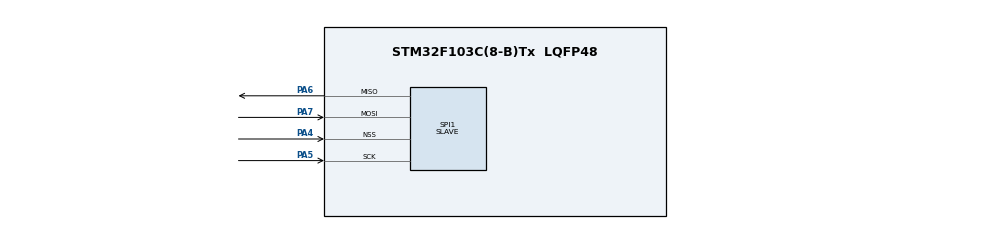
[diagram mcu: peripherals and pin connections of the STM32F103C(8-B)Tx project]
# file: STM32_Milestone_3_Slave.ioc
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Mcu.Family=STM32F1
Mcu.Name=STM32F103C(8-B)Tx
Mcu.Package=LQFP48
NVIC.PriorityGroup=NVIC_PRIORITYGROUP_4
PA4.Mode=NSS_Signal_Hard_Input
PA4.Signal=SPI1_NSS
PA5.Mode=Full_Duplex_Slave
PA5.Signal=SPI1_SCK
PA6.Mode=Full_Duplex_Slave
PA6.Signal=SPI1_MISO
PA7.Mode=Full_Duplex_Slave
PA7.Signal=SPI1_MOSI
ProjectManager.HeapSize=0x200
ProjectManager.StackSize=0x400
ProjectManager.TargetToolchain=STM32CubeIDE
RCC.APB1Freq_Value=8000000
RCC.APB2Freq_Value=8000000
SPI1.Direction=SPI_DIRECTION_2LINES
SPI1.Mode=SPI_MODE_SLAVE
SPI1.VirtualNSS=VM_NSSHARD
SPI1.VirtualType=VM_SLAVE
VP_SYS_VS_ND.Mode=No_Debug
board=custom

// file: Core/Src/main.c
/* USER CODE BEGIN Header */
/**
  ******************************************************************************
  * @file           : main.c
  * @brief          : Main program body
  ******************************************************************************
  * @attention
  *
  * Copyright (c) 2026 STMicroelectronics.
  * All rights reserved.
  *
  * This software is licensed under terms that can be found in the LICENSE file
  * in the root directory of this software component.
  * If no LICENSE file comes with this software, it is provided AS-IS.
  *
  ******************************************************************************
  */
/* USER CODE END Header */
#include "main.h"

/* USER CODE BEGIN Includes */
typedef struct
{
    uint16_t id;
    uint16_t voltage_x10;
    uint16_t speed;
} SensorCase;

SensorCase cases[5] =
{
    {0x1001, 123, 200},
    {0x1002, 142, 150},
    {0x1003, 138, 100},
    {0x1004, 115, 220},
    {0x1005, 109, 280}
};

uint8_t rx_data[2];
uint8_t tx_data[3];

uint16_t received_id;
uint16_t voltage_x10;
uint16_t speed;
uint32_t message_24bit;
/* USER CODE END Includes */

SPI_HandleTypeDef hspi1;

void SystemClock_Config(void);
static void MX_GPIO_Init(void);
static void MX_SPI1_Init(void);

int main(void)
{

  /* MCU Configuration--------------------------------------------------------*/

  /* Reset of all peripherals, Initializes the Flash interface and the Systick. */
  HAL_Init();

  /* Configure the system clock */
  SystemClock_Config();

  /* Initialize all configured peripherals */
  MX_GPIO_Init();
  MX_SPI1_Init();

  /* Infinite loop */
  /* USER CODE BEGIN WHILE */
  while (1)
  {
      uint8_t dummy_rx[2] = {0};

      /* ---------------- Cycle 1 ---------------- */

      /* Receive Case ID from Master.
         NOTE: this call BLOCKS here until the Master starts clocking
         Cycle 1. That is what keeps the two sides synchronized: the
         Slave is guaranteed to be "parked" inside this call, ready,
         before any clock edges arrive. */
      HAL_SPI_TransmitReceive(
          &hspi1,
          dummy_rx,
          rx_data,
          2,
          HAL_MAX_DELAY
      );

      /* Convert received bytes to 16-bit ID */
      received_id = ((uint16_t)rx_data[0] << 8) | rx_data[1];

      /* Find matching case */
      voltage_x10 = 0;
      speed = 0;

      for (int i = 0; i < 5; i++)
      {
          if (cases[i].id == received_id)
          {
              voltage_x10 = cases[i].voltage_x10;
              speed = cases[i].speed;
              break;
          }
      }

      /* Pack Voltage + Speed into 24 bits */
      message_24bit = ((uint32_t)voltage_x10 << 12) | speed;

      /* Split into 3 bytes */
      tx_data[0] = (message_24bit >> 16) & 0xFF;
      tx_data[1] = (message_24bit >> 8) & 0xFF;
      tx_data[2] = message_24bit & 0xFF;

      /* ---------------- Cycle 2 ---------------- */

      uint8_t dummy_rx_3[3];

      HAL_SPI_TransmitReceive(
          &hspi1,
          tx_data,
          dummy_rx_3,
          3,
          HAL_MAX_DELAY
      );
  }
  /* USER CODE END 3 */
}

void SystemClock_Config(void)
{
  RCC_OscInitTypeDef RCC_OscInitStruct = {0};
  RCC_ClkInitTypeDef RCC_ClkInitStruct = {0};

  RCC_OscInitStruct.OscillatorType = RCC_OSCILLATORTYPE_HSI;
  RCC_OscInitStruct.HSIState = RCC_HSI_ON;
  RCC_OscInitStruct.HSICalibrationValue = RCC_HSICALIBRATION_DEFAULT;
  RCC_OscInitStruct.PLL.PLLState = RCC_PLL_NONE;
  if (HAL_RCC_OscConfig(&RCC_OscInitStruct) != HAL_OK)
  {
    Error_Handler();
  }

  /** Initializes the CPU, AHB and APB buses clocks
  */
  RCC_ClkInitStruct.ClockType = RCC_CLOCKTYPE_HCLK|RCC_CLOCKTYPE_SYSCLK
                              |RCC_CLOCKTYPE_PCLK1|RCC_CLOCKTYPE_PCLK2;
  RCC_ClkInitStruct.SYSCLKSource = RCC_SYSCLKSOURCE_HSI;
  RCC_ClkInitStruct.AHBCLKDivider = RCC_SYSCLK_DIV1;
  RCC_ClkInitStruct.APB1CLKDivider = RCC_HCLK_DIV1;
  RCC_ClkInitStruct.APB2CLKDivider = RCC_HCLK_DIV1;

  if (HAL_RCC_ClockConfig(&RCC_ClkInitStruct, FLASH_LATENCY_0) != HAL_OK)
  {
    Error_Handler();
  }
}

static void MX_SPI1_Init(void)
{

  /* SPI1 parameter configuration*/
  hspi1.Instance = SPI1;
  hspi1.Init.Mode = SPI_MODE_SLAVE;
  hspi1.Init.Direction = SPI_DIRECTION_2LINES;
  hspi1.Init.DataSize = SPI_DATASIZE_8BIT;
  hspi1.Init.CLKPolarity = SPI_POLARITY_LOW;
  hspi1.Init.CLKPhase = SPI_PHASE_1EDGE;
  hspi1.Init.NSS = SPI_NSS_HARD_INPUT;
  hspi1.Init.FirstBit = SPI_FIRSTBIT_MSB;
  hspi1.Init.TIMode = SPI_TIMODE_DISABLE;
  hspi1.Init.CRCCalculation = SPI_CRCCALCULATION_DISABLE;
  hspi1.Init.CRCPolynomial = 10;
  if (HAL_SPI_Init(&hspi1) != HAL_OK)
  {
    Error_Handler();
  }

}

static void MX_GPIO_Init(void)
{

  /* GPIO Ports Clock Enable */
  __HAL_RCC_GPIOA_CLK_ENABLE();

}

void Error_Handler(void)
{
  __disable_irq();
  while (1)
  {
  }
}
